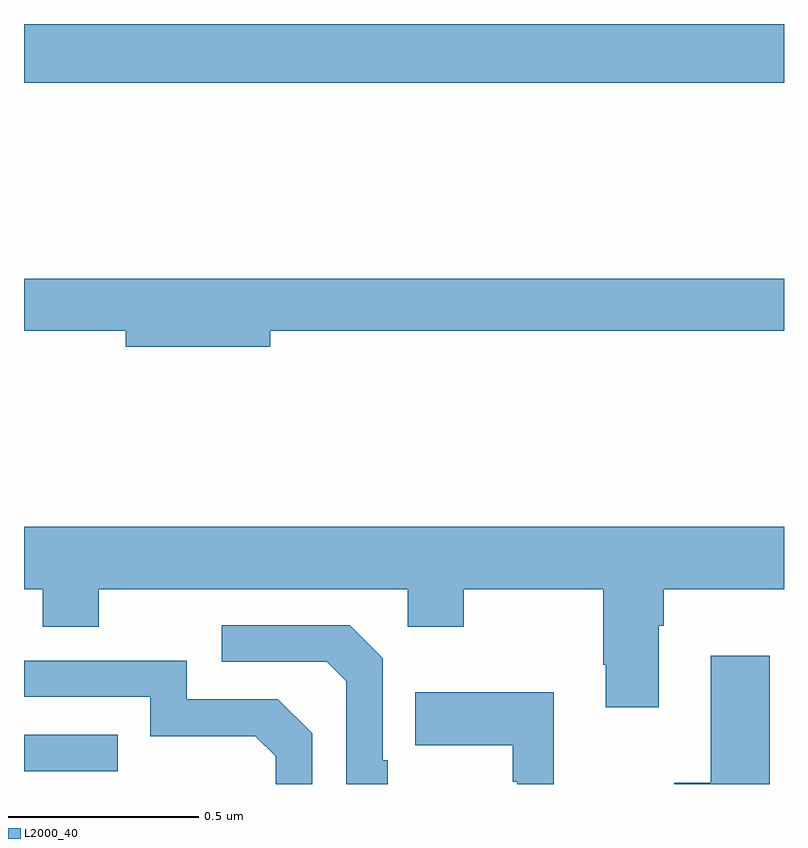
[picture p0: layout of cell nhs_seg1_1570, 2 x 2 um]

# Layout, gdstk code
import gdstk
lib = gdstk.Library(unit=1e-6, precision=1e-09)
def R(c, l, rs):  # rectangles x0, y0, x1, y1
    for r in rs: c.add(gdstk.rectangle(r[:2], r[2:], *l))
def P(c, l, *ps):  # polygons
    for p in ps: c.add(gdstk.Polygon(p, *l))
L2000_40 = (2000, 40)

nhs_seg1_1570 = lib.new_cell('nhs_seg1_1570')
R(nhs_seg1_1570, L2000_40, [(130,571.233,130.247,571.329), (130,573.044,132,573.199)])
P(nhs_seg1_1570, L2000_40, [(130.648,572.392),(132,572.392),(132,572.528),(130,572.528),(130,572.392),(130.268,572.392),(130.268,572.35),(130.648,572.35)],
  [(131.671,571.616),(131.684,571.616),(131.684,571.712),(132,571.712),(132,571.876),(130,571.876),(130,571.712),(130.049,571.712),(130.049,571.613),(130.197,571.613),(130.197,571.712),(131.01,571.712),(131.01,571.613),(131.157,571.613),(131.157,571.712),(131.524,571.712),(131.524,571.513),(131.531,571.513),(131.531,571.401),(131.671,571.401)],
  [(130.957,571.261),(130.944,571.261),(130.944,571.53),(130.857,571.617),(130.521,571.617),(130.521,571.521),(130.797,571.521),(130.848,571.47),(130.848,571.199),(130.957,571.199)],
  [(131.962,571.537),(131.807,571.537),(131.807,571.202),(131.711,571.202),(131.711,571.199),(131.962,571.199)],
  [(130.758,571.332),(130.668,571.422),(130.428,571.422),(130.428,571.524),(130,571.524),(130,571.428),(130.332,571.428),(130.332,571.325),(130.609,571.325),(130.662,571.272),(130.662,571.199),(130.758,571.199)],
  [(131.394,571.441),(131.029,571.441),(131.029,571.301),(131.286,571.301),(131.286,571.205),(131.298,571.205),(131.298,571.199),(131.394,571.199)])

lib.write_gds('nhs_seg1_1570.gds')
